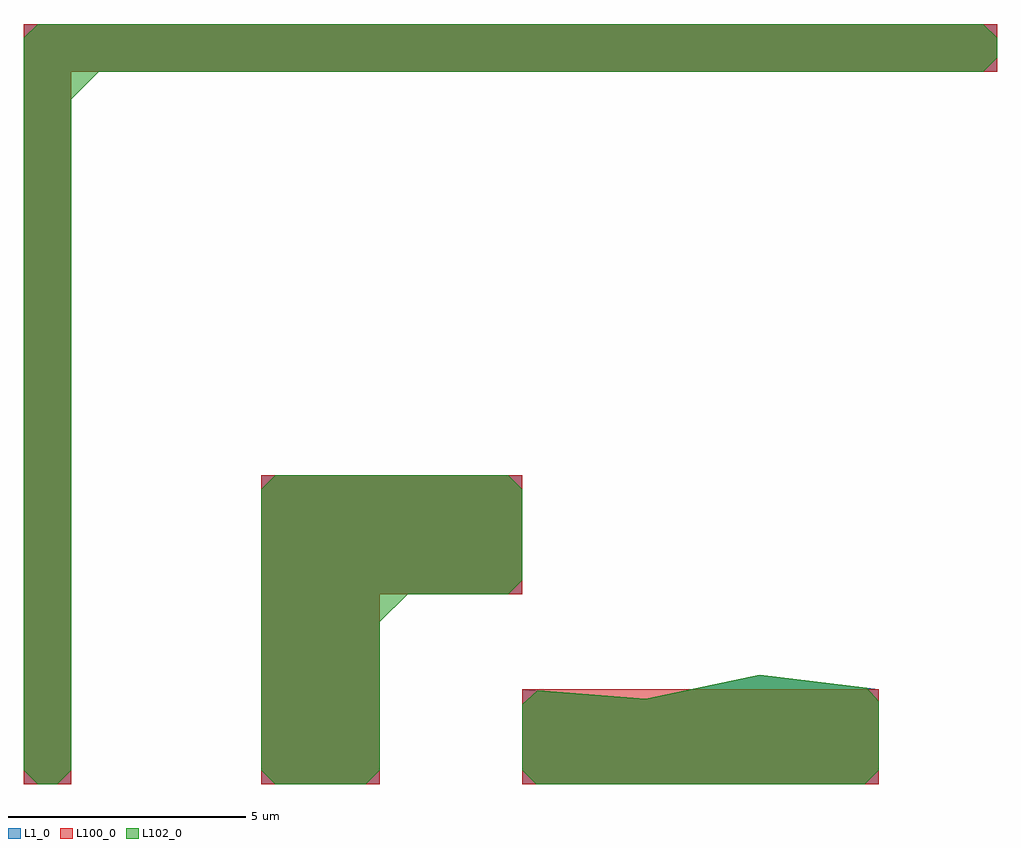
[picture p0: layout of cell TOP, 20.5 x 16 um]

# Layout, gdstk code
import gdstk
lib = gdstk.Library(unit=1e-6, precision=1e-09)
def R(c, l, rs):  # rectangles x0, y0, x1, y1
    for r in rs: c.add(gdstk.rectangle(r[:2], r[2:], *l))
def P(c, l, *ps):  # polygons
    for p in ps: c.add(gdstk.Polygon(p, *l))
L1_0 = (1, 0)
L100_0 = (100, 0)
L102_0 = (102, 0)

top = lib.new_cell('TOP')
R(top, L1_0, [(-11.5,1,-10.5,16), (-6.5,1,-4,7.5), (-6.5,5,-1,7.5), (-11.5,16,9,17)])
P(top, L1_0, [(-1,1),(-1,3),(1.6,2.8),(4,3.3),(6.5,3),(6.5,1)])
R(top, L100_0, [(-1,1,6.5,3)])
P(top, L100_0, [(-11.5,1),(-11.5,17),(9,17),(9,16),(-10.5,16),(-10.5,1)],
  [(-6.5,1),(-6.5,7.5),(-1,7.5),(-1,5),(-4,5),(-4,1)])
P(top, L102_0, [(-11.207,1),(-11.5,1.293),(-11.5,16.707),(-11.207,17),(8.707,17),(9,16.707),(9,16.293),(8.707,16),(-9.914,16),(-10.5,15.414),(-10.5,1.293),(-10.793,1)],
  [(-6.207,1),(-6.5,1.293),(-6.5,7.207),(-6.207,7.5),(-1.293,7.5),(-1,7.207),(-1,5.293),(-1.293,5),(-3.414,5),(-4,4.414),(-4,1.293),(-4.293,1)],
  [(-0.707,1),(-1,1.293),(-1,2.679),(-0.679,2.975),(1.6,2.8),(4,3.3),(6.248,3.03),(6.5,2.746),(6.5,1.293),(6.207,1)])

lib.write_gds('TOP.gds')
